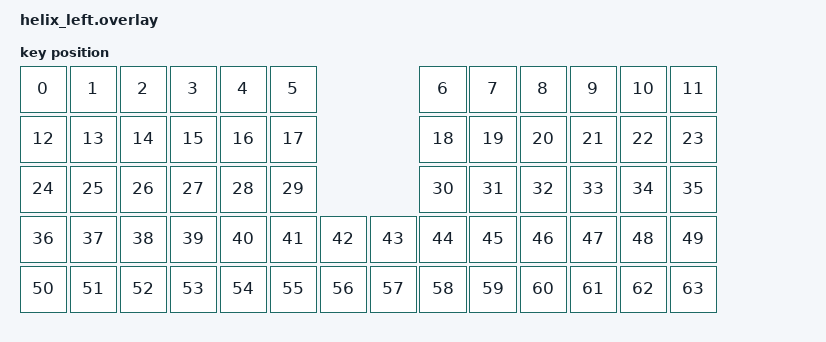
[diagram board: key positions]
/*
 * ZMK Studio requires the keyboard to expose a physical layout with a `keys`
 * property, and it must NOT have `chosen zmk,matrix-transform`. The upstream
 * Helix shield (helix.dtsi) sets that chosen property, so we blow the whole
 * chosen node away and rebuild it here on the central (left) half only.
 */

#include <physical_layouts.dtsi>

/ {
    /delete-node/ chosen;

    chosen {
        zmk,kscan = &kscan0;
        zmk,physical-layout = &helix_physical_layout;
        zephyr,display = &nice_view;
    };

    helix_physical_layout: helix_physical_layout {
        compatible = "zmk,physical-layout";
        display-name = "Helix";
        transform = <&default_transform>;
        kscan = <&kscan0>;

        // Key order MUST match the order of bindings in helix.keymap.
        // Units are centi-keyunits (100 = 1u).
        keys  //                     w   h    x    y     rot    rx    ry
            // Row 0 — 6 left + 6 right, 2u gap between halves
            = <&key_physical_attrs 100 100    0    0       0     0     0>
            , <&key_physical_attrs 100 100  100    0       0     0     0>
            , <&key_physical_attrs 100 100  200    0       0     0     0>
            , <&key_physical_attrs 100 100  300    0       0     0     0>
            , <&key_physical_attrs 100 100  400    0       0     0     0>
            , <&key_physical_attrs 100 100  500    0       0     0     0>
            , <&key_physical_attrs 100 100  800    0       0     0     0>
            , <&key_physical_attrs 100 100  900    0       0     0     0>
            , <&key_physical_attrs 100 100 1000    0       0     0     0>
            , <&key_physical_attrs 100 100 1100    0       0     0     0>
            , <&key_physical_attrs 100 100 1200    0       0     0     0>
            , <&key_physical_attrs 100 100 1300    0       0     0     0>
            // Row 1
            , <&key_physical_attrs 100 100    0  100       0     0     0>
            , <&key_physical_attrs 100 100  100  100       0     0     0>
            , <&key_physical_attrs 100 100  200  100       0     0     0>
            , <&key_physical_attrs 100 100  300  100       0     0     0>
            , <&key_physical_attrs 100 100  400  100       0     0     0>
            , <&key_physical_attrs 100 100  500  100       0     0     0>
            , <&key_physical_attrs 100 100  800  100       0     0     0>
            , <&key_physical_attrs 100 100  900  100       0     0     0>
            , <&key_physical_attrs 100 100 1000  100       0     0     0>
            , <&key_physical_attrs 100 100 1100  100       0     0     0>
            , <&key_physical_attrs 100 100 1200  100       0     0     0>
            , <&key_physical_attrs 100 100 1300  100       0     0     0>
            // Row 2
            , <&key_physical_attrs 100 100    0  200       0     0     0>
            , <&key_physical_attrs 100 100  100  200       0     0     0>
            , <&key_physical_attrs 100 100  200  200       0     0     0>
            , <&key_physical_attrs 100 100  300  200       0     0     0>
            , <&key_physical_attrs 100 100  400  200       0     0     0>
            , <&key_physical_attrs 100 100  500  200       0     0     0>
            , <&key_physical_attrs 100 100  800  200       0     0     0>
            , <&key_physical_attrs 100 100  900  200       0     0     0>
            , <&key_physical_attrs 100 100 1000  200       0     0     0>
            , <&key_physical_attrs 100 100 1100  200       0     0     0>
            , <&key_physical_attrs 100 100 1200  200       0     0     0>
            , <&key_physical_attrs 100 100 1300  200       0     0     0>
            // Row 3 — 7 left + 7 right (inner thumbs fill the gap)
            , <&key_physical_attrs 100 100    0  300       0     0     0>
            , <&key_physical_attrs 100 100  100  300       0     0     0>
            , <&key_physical_attrs 100 100  200  300       0     0     0>
            , <&key_physical_attrs 100 100  300  300       0     0     0>
            , <&key_physical_attrs 100 100  400  300       0     0     0>
            , <&key_physical_attrs 100 100  500  300       0     0     0>
            , <&key_physical_attrs 100 100  600  300       0     0     0>
            , <&key_physical_attrs 100 100  700  300       0     0     0>
            , <&key_physical_attrs 100 100  800  300       0     0     0>
            , <&key_physical_attrs 100 100  900  300       0     0     0>
            , <&key_physical_attrs 100 100 1000  300       0     0     0>
            , <&key_physical_attrs 100 100 1100  300       0     0     0>
            , <&key_physical_attrs 100 100 1200  300       0     0     0>
            , <&key_physical_attrs 100 100 1300  300       0     0     0>
            // Row 4
            , <&key_physical_attrs 100 100    0  400       0     0     0>
            , <&key_physical_attrs 100 100  100  400       0     0     0>
            , <&key_physical_attrs 100 100  200  400       0     0     0>
            , <&key_physical_attrs 100 100  300  400       0     0     0>
            , <&key_physical_attrs 100 100  400  400       0     0     0>
            , <&key_physical_attrs 100 100  500  400       0     0     0>
            , <&key_physical_attrs 100 100  600  400       0     0     0>
            , <&key_physical_attrs 100 100  700  400       0     0     0>
            , <&key_physical_attrs 100 100  800  400       0     0     0>
            , <&key_physical_attrs 100 100  900  400       0     0     0>
            , <&key_physical_attrs 100 100 1000  400       0     0     0>
            , <&key_physical_attrs 100 100 1100  400       0     0     0>
            , <&key_physical_attrs 100 100 1200  400       0     0     0>
            , <&key_physical_attrs 100 100 1300  400       0     0     0>
            ;
    };
};
